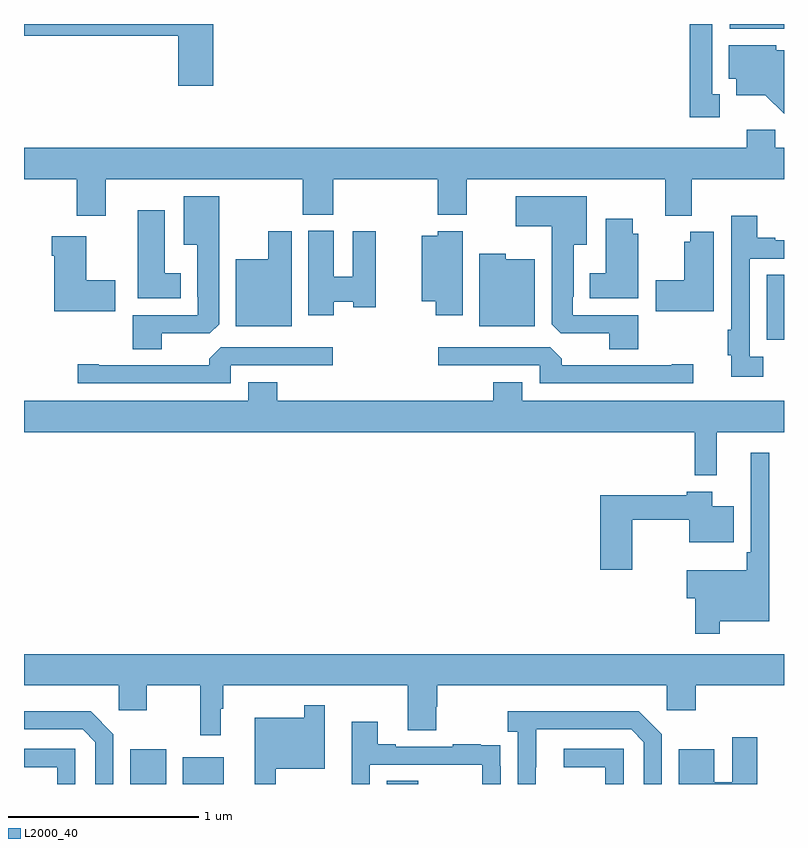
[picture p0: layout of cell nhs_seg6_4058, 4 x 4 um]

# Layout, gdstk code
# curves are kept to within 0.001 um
import gdstk
lib = gdstk.Library(unit=1e-6, precision=1e-09)
def R(c, l, rs):  # rectangles x0, y0, x1, y1
    for r in rs: c.add(gdstk.rectangle(r[:2], r[2:], *l))
def P(c, l, *ps):  # polygons
    for p in ps: c.add(gdstk.Polygon(p, *l))
L2000_40 = (2000, 40)

nhs_seg6_4058 = lib.new_cell('nhs_seg6_4058')
R(nhs_seg6_4058, L2000_40, [(351.56,929.5,351.748,929.683), (351.836,929.5,352.051,929.641), (352.91,929.5,353.074,929.516), (354.908,931.837,355,932.18), (354.714,933.476,355,933.5)])
P(nhs_seg6_4058, L2000_40, [(351.995,933.5),(351,933.5),(351,933.439),(351.812,933.439),(351.812,933.174),(351.995,933.174)],
  [(354.661,933.129),(354.622,933.129),(354.622,933.5),(354.504,933.5),(354.504,933.009),(354.661,933.009)],
  [(355,933.361),(354.96,933.361),(354.96,933.388),(354.71,933.388),(354.71,933.212),(354.749,933.212),(354.749,933.125),(354.901,933.125),(355,933.027)],
  [(351,932.684),(351.278,932.684),(351.278,932.49),(351.43,932.49),(351.43,932.684),(352.468,932.684),(352.468,932.497),(352.628,932.497),(352.628,932.684),(353.177,932.684),(353.177,932.495),(353.329,932.495),(353.329,932.684),(354.374,932.684),(354.374,932.492),(354.514,932.492),(354.514,932.684),(355,932.684),(355,932.848),(354.954,932.848),(354.954,932.944),(354.803,932.944),(354.803,932.848),(351,932.848)],
  [(354.233,931.968),(353.889,931.968),(353.889,932.065),(353.893,932.065),(353.893,932.339),(353.962,932.339),(353.962,932.593),(353.589,932.593),(353.589,932.435),(353.777,932.435),(353.777,931.921),(353.826,931.872),(354.08,931.872),(354.08,931.789),(354.233,931.789)],
  [(351.724,931.872),(351.978,931.872),(352.027,931.921),(352.027,932.593),(351.842,932.593),(351.842,932.339),(351.911,932.339),(351.911,932.065),(351.915,932.065),(351.915,931.968),(351.572,931.968),(351.572,931.789),(351.724,931.789)],
  [(351.826,932.188),(351.742,932.188),(351.742,932.521),(351.599,932.521),(351.599,932.057),(351.826,932.057)],
  [(354.892,931.749),(354.819,931.749),(354.819,932.265),(355,932.265),(355,932.361),(354.955,932.361),(354.955,932.374),(354.859,932.374),(354.859,932.491),(354.723,932.491),(354.723,931.892),(354.703,931.892),(354.703,931.756),(354.722,931.756),(354.722,931.644),(354.892,931.644)],
  [(354.232,932.397),(354.205,932.397),(354.205,932.476),(354.062,932.476),(354.062,932.188),(353.978,932.188),(353.978,932.057),(354.232,932.057)],
  [(352.63,932.039),(352.734,932.039),(352.734,932.009),(352.852,932.009),(352.852,932.41),(352.73,932.41),(352.73,932.169),(352.63,932.169),(352.63,932.412),(352.496,932.412),(352.496,931.968),(352.63,931.968)],
  [(353.308,932.41),(353.178,932.41),(353.178,932.386),(353.093,932.386),(353.093,932.042),(353.167,932.042),(353.167,931.968),(353.308,931.968)],
  [(352.408,932.41),(352.286,932.41),(352.286,932.263),(352.115,932.263),(352.115,931.91),(352.408,931.91)],
  [(354.631,932.407),(354.506,932.407),(354.506,932.353),(354.476,932.353),(354.476,932.151),(354.324,932.151),(354.324,931.988),(354.631,931.988)],
  [(351.481,932.151),(351.328,932.151),(351.328,932.383),(351.146,932.383),(351.146,932.279),(351.158,932.279),(351.158,931.988),(351.481,931.988)],
  [(353.689,932.263),(353.535,932.263),(353.535,932.29),(353.396,932.29),(353.396,931.91),(353.689,931.91)],
  [(354.523,931.709),(354.41,931.709),(354.41,931.704),(353.831,931.704),(353.831,931.738),(353.769,931.8),(353.181,931.8),(353.181,931.704),(353.715,931.704),(353.715,931.608),(354.523,931.608)],
  [(352.089,931.704),(352.624,931.704),(352.624,931.8),(352.035,931.8),(351.974,931.738),(351.974,931.704),(351.394,931.704),(351.394,931.709),(351.282,931.709),(351.282,931.608),(352.089,931.608)],
  [(354.647,931.352),(355,931.352),(355,931.516),(353.623,931.516),(353.623,931.615),(353.471,931.615),(353.471,931.516),(352.334,931.516),(352.334,931.615),(352.181,931.615),(352.181,931.516),(351,931.516),(351,931.352),(354.529,931.352),(354.529,931.124),(354.647,931.124)],
  [(354.661,930.356),(354.922,930.356),(354.922,931.243),(354.825,931.243),(354.825,930.721),(354.805,930.721),(354.805,930.625),(354.488,930.625),(354.488,930.478),(354.532,930.478),(354.532,930.291),(354.661,930.291)],
  [(354.202,930.892),(354.5,930.892),(354.5,930.773),(354.736,930.773),(354.736,930.961),(354.622,930.961),(354.622,931.039),(354.488,931.039),(354.488,931.021),(354.032,931.021),(354.032,930.627),(354.202,930.627)],
  [(352.036,929.897),(352.048,929.897),(352.048,930.02),(353.021,930.02),(353.021,929.782),(353.169,929.782),(353.169,929.907),(353.174,929.907),(353.174,930.02),(354.384,930.02),(354.384,929.889),(354.536,929.889),(354.536,930.02),(355,930.02),(355,930.184),(351,930.184),(351,930.02),(351.498,930.02),(351.498,929.889),(351.645,929.889),(351.645,930.02),(351.927,930.02),(351.927,929.757),(352.036,929.757)],
  [(352.324,929.579),(352.584,929.579),(352.584,929.914),(352.476,929.914),(352.476,929.848),(352.214,929.848),(352.214,929.5),(352.324,929.5)],
  [(353.694,929.587),(353.695,929.787),(354.195,929.787),(354.261,929.721),(354.261,929.5),(354.357,929.5),(354.357,929.763),(354.236,929.884),(353.547,929.884),(353.547,929.774),(353.598,929.774),(353.598,929.5),(353.694,929.5)],
  [(351.471,929.763),(351.35,929.884),(351,929.884),(351,929.787),(351.309,929.787),(351.375,929.721),(351.375,929.5),(351.471,929.5)],
  [(352.821,929.601),(353.412,929.601),(353.412,929.5),(353.508,929.5),(353.508,929.594),(353.507,929.594),(353.507,929.703),(353.405,929.703),(353.405,929.71),(353.257,929.71),(353.257,929.697),(352.957,929.697),(352.957,929.71),(352.861,929.71),(352.861,929.827),(352.724,929.827),(352.724,929.604),(352.725,929.604),(352.725,929.5),(352.821,929.5)],
  [(354.858,929.746),(354.728,929.746),(354.728,929.51),(354.634,929.51),(354.634,929.683),(354.446,929.683),(354.446,929.5),(354.858,929.5)],
  [(354.156,929.685),(353.841,929.685),(353.841,929.589),(354.06,929.589),(354.06,929.5),(354.156,929.5)],
  [(351.27,929.685),(351,929.685),(351,929.589),(351.174,929.589),(351.174,929.5),(351.27,929.5)])

lib.write_gds('nhs_seg6_4058.gds')
